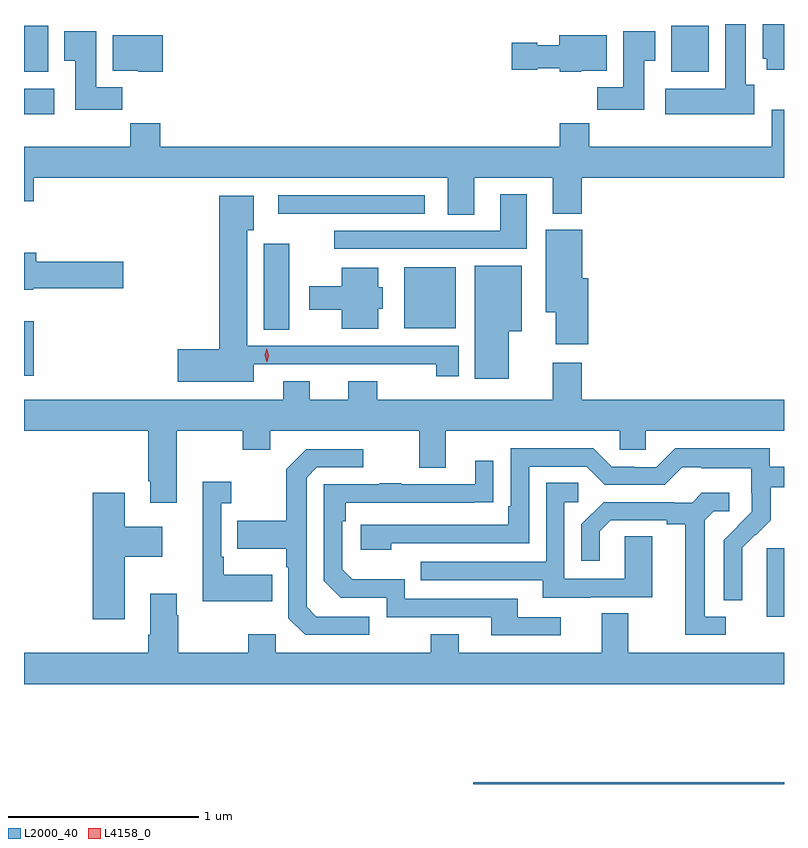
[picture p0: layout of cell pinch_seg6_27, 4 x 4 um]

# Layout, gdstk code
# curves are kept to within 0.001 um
import gdstk
lib = gdstk.Library(unit=1e-6, precision=1e-09)
def R(c, l, rs):  # rectangles x0, y0, x1, y1
    for r in rs: c.add(gdstk.rectangle(r[:2], r[2:], *l))
def P(c, l, *ps):  # polygons
    for p in ps: c.add(gdstk.Polygon(p, *l))
L2000_40 = (2000, 40)
L4158_0 = (4158, 0)

pinch_seg6_27 = lib.new_cell('pinch_seg6_27')
R(pinch_seg6_27, L2000_40, [(984.757,965.458,986.392,965.468), (986.3,966.338,986.392,966.699), (982.392,967.608,982.442,967.894), (983.654,967.849,983.788,968.302), (984.392,967.856,984.664,968.179), (983.73,968.46,984.502,968.556), (982.392,968.984,982.552,969.118), (982.392,969.206,982.519,969.448), (985.799,969.206,985.996,969.448)])
P(pinch_seg6_27, L2000_40, [(986.392,969.458),(986.279,969.458),(986.279,969.276),(986.3,969.276),(986.3,969.216),(986.392,969.216)],
  [(986.236,969.138),(986.191,969.138),(986.191,969.458),(986.084,969.458),(986.084,969.118),(985.767,969.118),(985.767,968.984),(986.236,968.984)],
  [(982.91,969.124),(982.771,969.124),(982.771,969.421),(982.604,969.421),(982.604,969.265),(982.661,969.265),(982.661,969.006),(982.91,969.006)],
  [(985.657,969.265),(985.714,969.265),(985.714,969.421),(985.547,969.421),(985.547,969.124),(985.408,969.124),(985.408,969.006),(985.657,969.006)],
  [(983.123,969.4),(982.859,969.4),(982.859,969.212),(982.992,969.212),(982.992,969.206),(983.123,969.206)],
  [(985.326,969.212),(985.459,969.212),(985.459,969.4),(985.208,969.4),(985.208,969.346),(985.092,969.346),(985.092,969.359),(984.96,969.359),(984.96,969.217),(985.092,969.217),(985.092,969.224),(985.212,969.224),(985.212,969.206),(985.326,969.206)],
  [(984.763,968.648),(985.175,968.648),(985.175,968.459),(985.328,968.459),(985.328,968.648),(986.392,968.648),(986.392,969.007),(986.327,969.007),(986.327,968.812),(985.367,968.812),(985.367,968.936),(985.211,968.936),(985.211,968.812),(983.108,968.812),(983.108,968.936),(982.951,968.936),(982.951,968.812),(982.392,968.812),(982.392,968.524),(982.442,968.524),(982.442,968.648),(984.623,968.648),(984.623,968.455),(984.763,968.455)],
  [(985.039,968.563),(984.899,968.563),(984.899,968.37),(984.024,968.37),(984.024,968.274),(985.039,968.274)],
  [(983.602,967.668),(984.334,967.668),(984.334,967.667),(984.562,967.667),(984.562,967.605),(984.679,967.605),(984.679,967.764),(983.566,967.764),(983.566,968.372),(983.602,968.372),(983.602,968.554),(983.42,968.554),(983.42,967.745),(983.202,967.745),(983.202,967.574),(983.602,967.574)],
  [(985.361,968.121),(985.33,968.121),(985.33,968.374),(985.139,968.374),(985.139,967.94),(985.19,967.94),(985.19,967.773),(985.361,967.773)],
  [(982.44,968.066),(982.915,968.066),(982.915,968.208),(982.457,968.208),(982.457,968.254),(982.392,968.254),(982.392,968.06),(982.44,968.06)],
  [(984.943,967.841),(985.012,967.841),(985.012,968.185),(984.764,968.185),(984.764,967.592),(984.943,967.592)],
  [(984.256,967.959),(984.28,967.959),(984.28,968.073),(984.256,968.073),(984.256,968.176),(984.065,968.176),(984.065,968.077),(983.892,968.077),(983.892,967.955),(984.065,967.955),(984.065,967.853),(984.256,967.853)],
  [(983.197,967.316),(983.542,967.316),(983.542,967.217),(983.689,967.217),(983.689,967.316),(984.473,967.316),(984.473,967.122),(984.613,967.122),(984.613,967.316),(985.527,967.316),(985.527,967.218),(985.665,967.218),(985.665,967.316),(986.392,967.316),(986.392,967.48),(985.328,967.48),(985.328,967.675),(985.175,967.675),(985.175,967.48),(984.251,967.48),(984.251,967.579),(984.098,967.579),(984.098,967.48),(983.896,967.48),(983.896,967.579),(983.756,967.579),(983.756,967.48),(982.392,967.48),(982.392,967.316),(983.045,967.316),(983.045,967.051),(983.057,967.051),(983.057,966.939),(983.197,966.939)],
  [(986.172,966.578),(986.171,966.701),(986.241,966.771),(986.244,966.768),(986.321,966.845),(986.321,967.02),(986.392,967.02),(986.392,967.128),(986.316,967.128),(986.316,967.225),(985.819,967.225),(985.719,967.125),(985.604,967.125),(985.604,967.128),(985.485,967.128),(985.389,967.224),(984.954,967.224),(984.954,966.919),(984.941,966.919),(984.941,966.822),(984.165,966.822),(984.165,966.692),(984.326,966.692),(984.326,966.726),(985.05,966.726),(985.05,967.128),(985.353,967.128),(985.449,967.032),(985.764,967.032),(985.857,967.125),(985.957,967.125),(985.957,967.121),(986.22,967.121),(986.22,966.987),(986.222,966.987),(986.222,966.89),(986.076,966.742),(986.076,966.424),(986.172,966.424)],
  [(984.208,966.339),(983.931,966.339),(983.88,966.39),(983.88,967.071),(983.934,967.125),(984.178,967.125),(984.178,967.221),(983.877,967.221),(983.772,967.115),(983.772,966.843),(983.515,966.843),(983.515,966.695),(983.772,966.695),(983.772,966.599),(983.784,966.599),(983.784,966.33),(983.871,966.243),(984.208,966.243)],
  [(985.216,966.336),(984.991,966.336),(984.991,966.432),(984.396,966.432),(984.396,966.535),(984.119,966.535),(984.066,966.588),(984.066,966.842),(984.086,966.842),(984.086,966.939),(984.863,966.94),(984.863,967.159),(984.767,967.159),(984.767,967.035),(984.377,967.035),(984.377,967.04),(984.265,967.04),(984.265,967.035),(983.97,967.035),(983.97,966.528),(984.06,966.438),(984.3,966.438),(984.3,966.336),(984.851,966.336),(984.851,966.24),(985.216,966.24)],
  [(983.699,966.559),(983.443,966.559),(983.443,966.655),(983.43,966.655),(983.43,966.935),(983.482,966.935),(983.482,967.048),(983.333,967.048),(983.333,966.419),(983.699,966.419)],
  [(985.375,966.441),(985.699,966.441),(985.699,966.761),(985.554,966.761),(985.554,966.537),(985.236,966.537),(985.236,966.942),(985.309,966.942),(985.309,967.043),(985.14,967.043),(985.14,966.627),(984.481,966.627),(984.481,966.531),(985.121,966.531),(985.121,966.437),(985.375,966.437)],
  [(986.086,966.339),(985.975,966.339),(985.975,966.847),(986.022,966.894),(986.104,966.894),(986.104,966.991),(985.96,966.991),(985.908,966.939),(985.814,966.939),(985.814,966.942),(985.442,966.942),(985.326,966.826),(985.326,966.633),(985.423,966.633),(985.423,966.789),(985.48,966.846),(985.775,966.846),(985.775,966.824),(985.871,966.824),(985.871,966.243),(986.086,966.243)],
  [(982.921,966.653),(983.119,966.653),(983.119,966.811),(982.921,966.811),(982.921,966.991),(982.754,966.991),(982.754,966.324),(982.921,966.324)],
  [(986.392,966.148),(985.573,966.148),(985.573,966.356),(985.433,966.356),(985.433,966.148),(984.679,966.148),(984.679,966.247),(984.532,966.247),(984.532,966.148),(983.718,966.148),(983.718,966.247),(983.572,966.247),(983.572,966.148),(983.205,966.148),(983.205,966.347),(983.197,966.347),(983.197,966.46),(983.057,966.46),(983.057,966.244),(983.045,966.244),(983.045,966.148),(982.392,966.148),(982.392,965.984),(986.392,965.984)])
P(pinch_seg6_27, L4158_0, [(983.67,967.68),(983.67,967.68),(983.66,967.715),(983.67,967.75),(983.67,967.75),(983.67,967.75),(983.68,967.715),(983.671,967.68)])

lib.write_gds('pinch_seg6_27.gds')
